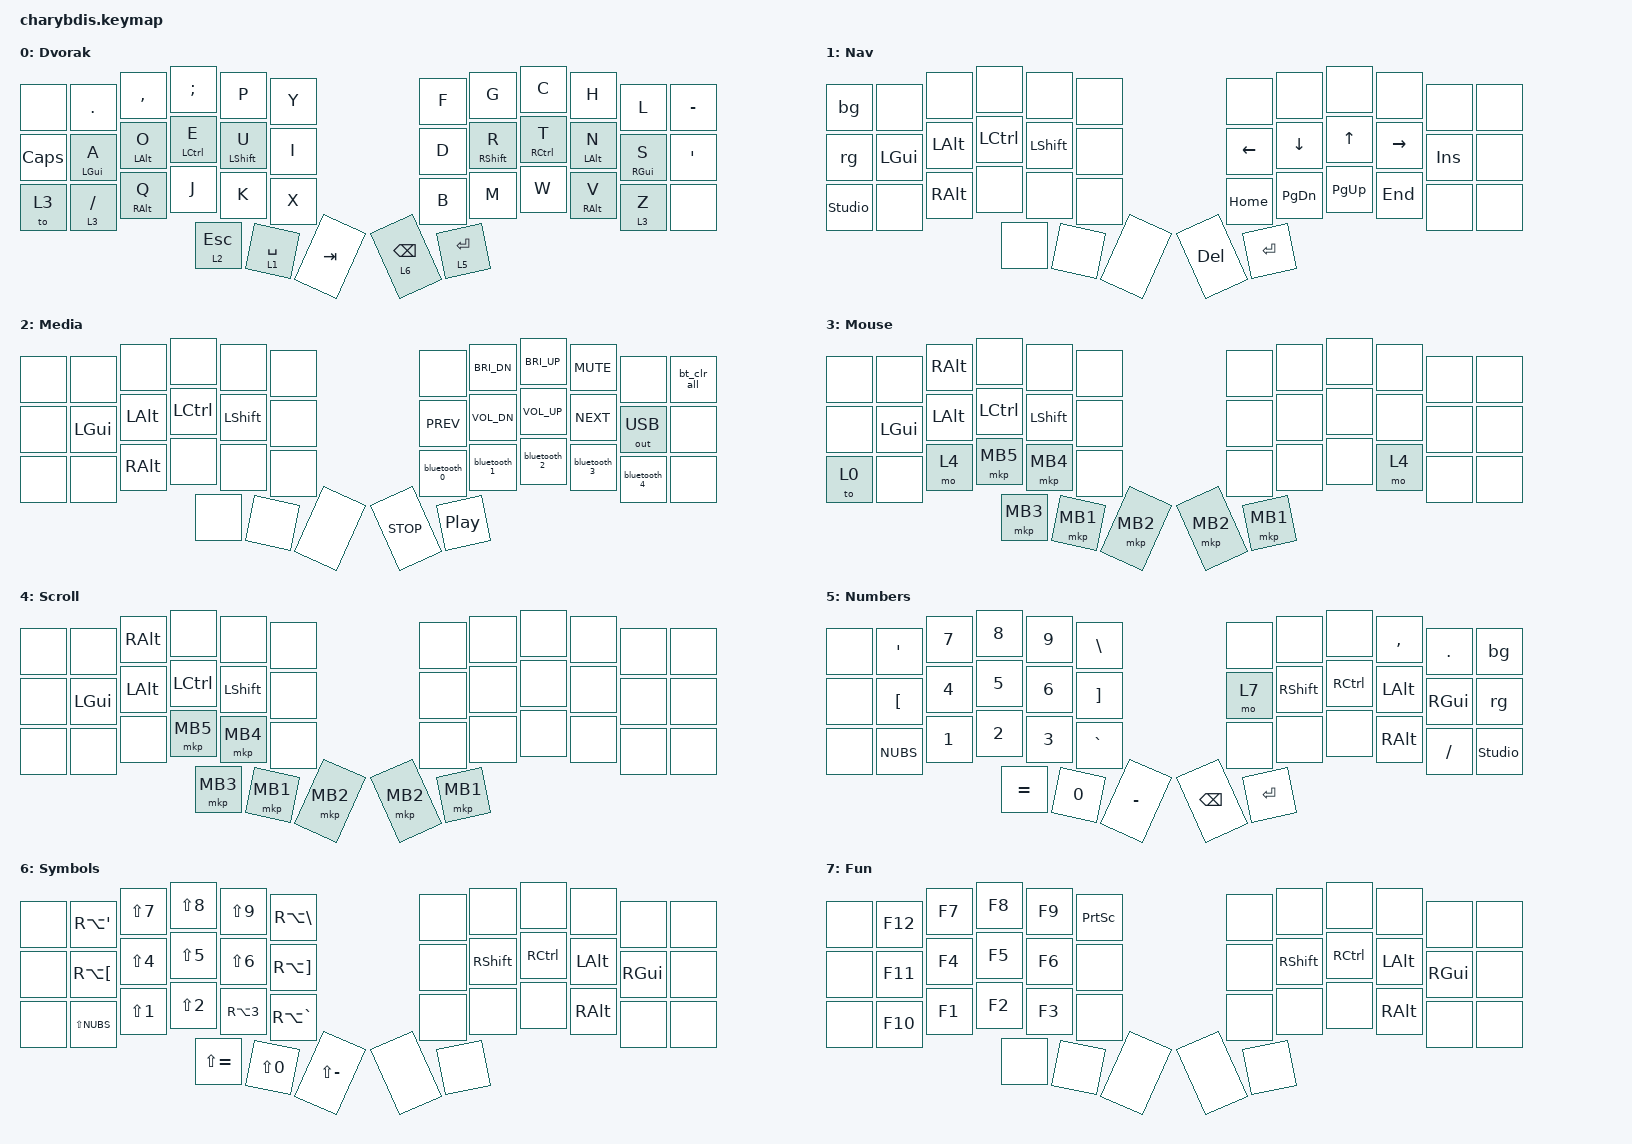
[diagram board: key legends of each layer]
/*
 * Copyright (c) 2020 The ZMK Contributors
 *
 * SPDX-License-Identifier: MIT
 */

#include <behaviors.dtsi>
#include <dt-bindings/zmk/bt.h>
#include <dt-bindings/zmk/keys.h>
#include <dt-bindings/zmk/outputs.h>
#include <dt-bindings/zmk/pointing.h>

#define DVORAK  0
#define QWERTY  1
#define NAV     2
#define MEDIA   3
#define MOUSE   4
#define SCROLL  5
#define NUMBERS 6
#define SYMBOLS 7
#define FUN     8

/ {
    macros {
        bt_0: bt_0 {
            compatible = "zmk,behavior-macro";
            #binding-cells = <0>;
            bindings = <&out OUT_BLE &bt BT_SEL 0>;
        };

        bt_1: bt_1 {
            compatible = "zmk,behavior-macro";
            #binding-cells = <0>;
            bindings = <&out OUT_BLE &bt BT_SEL 1>;
        };

        bt_2: bt_2 {
            compatible = "zmk,behavior-macro";
            #binding-cells = <0>;
            bindings = <&out OUT_BLE &bt BT_SEL 2>;
        };

        bt_3: bt_3 {
            compatible = "zmk,behavior-macro";
            #binding-cells = <0>;
            bindings = <&out OUT_BLE &bt BT_SEL 3>;
        };

        bt_4: bt_4 {
            compatible = "zmk,behavior-macro";
            #binding-cells = <0>;
            bindings = <&out OUT_BLE &bt BT_SEL 4>;
        };
    };

    behaviors {
        hrm: home_row_mod {
            compatible = "zmk,behavior-hold-tap";
            bindings = <&kp>, <&kp>;

            #binding-cells = <2>;
            tapping-term-ms = <200>;
            quick-tap-ms = <200>;
            require-prior-idle-ms = <150>;
            flavor = "tap-preferred";
        };

        hrml: home_row_mod_layer {
            compatible = "zmk,behavior-hold-tap";
            bindings = <&mo>, <&kp>;

            #binding-cells = <2>;
            tapping-term-ms = <200>;
            quick-tap-ms = <200>;
            require-prior-idle-ms = <150>;
            flavor = "tap-preferred";
        };

        ltq: layer_tap_quick {
            compatible = "zmk,behavior-hold-tap";
            bindings = <&mo>, <&kp>;

            #binding-cells = <2>;
            tapping-term-ms = <200>;
            quick-tap-ms = <200>;
            require-prior-idle-ms = <0>;
        };

        bluetooth_0: bluetooth_0 {
            compatible = "zmk,behavior-tap-dance";
            #binding-cells = <0>;
            bindings = <&bt_0>, <&bt BT_DISC 0>;
        };

        bluetooth_1: bluetooth_1 {
            compatible = "zmk,behavior-tap-dance";
            #binding-cells = <0>;
            bindings = <&bt_1>, <&bt BT_DISC 1>;
        };

        bluetooth_2: bluetooth_2 {
            compatible = "zmk,behavior-tap-dance";
            #binding-cells = <0>;
            bindings = <&bt_2>, <&bt BT_DISC 2>;
        };

        bluetooth_3: bluetooth_3 {
            compatible = "zmk,behavior-tap-dance";
            #binding-cells = <0>;
            bindings = <&bt_3>, <&bt BT_DISC 3>;
        };

        bluetooth_4: bluetooth_4 {
            compatible = "zmk,behavior-tap-dance";
            #binding-cells = <0>;
            bindings = <&bt_4>, <&bt BT_DISC 4>;
        };

        bt_clr_all: bluetooth_clr_all {
            compatible = "zmk,behavior-tap-dance";
            #binding-cells = <0>;
            bindings = <&bt BT_CLR>, <&bt BT_CLR_ALL>;
        };

        bg: bg {
            compatible = "zmk,behavior-tap-dance";
            #binding-cells = <0>;
            bindings = <&none>, <&bootloader>;
        };

        rg: rg {
            compatible = "zmk,behavior-tap-dance";
            #binding-cells = <0>;
            bindings = <&none>, <&sys_reset>;
        };
    };

    keymap {
        compatible = "zmk,keymap";

        Dvorak {
            bindings = <
&none       &kp DOT       &kp COMMA    &kp SEMI          &kp P          &kp Y  &kp F  &kp G         &kp C         &kp H        &kp L        &kp MINUS
&kp CAPS    &hrm LGUI A   &hrm LALT O  &hrm LCTRL E      &hrm LSHFT U   &kp I  &kp D  &hrm RSHFT R  &hrm RCTRL T  &hrm LALT N  &hrm RGUI S  &kp SQT
&to 3       &hrml 3 FSLH  &hrm RALT Q  &kp J             &kp K          &kp X  &kp B  &kp M         &kp W         &hrm RALT V  &hrml 3 Z    &none
&ltq 2 ESC  &ltq 1 SPACE  &kp TAB      &ltq 6 BACKSPACE  &ltq 5 RETURN
            >;
        };

        Nav {
            bindings = <
&bg             &none     &none     &none      &none       &none  &none     &none      &none      &none      &none    &none
&rg             &kp LGUI  &kp LALT  &kp LCTRL  &kp LSHFT   &none  &kp LEFT  &kp DOWN   &kp UP     &kp RIGHT  &kp INS  &none
&studio_unlock  &none     &kp RALT  &none      &none       &none  &kp HOME  &kp PG_DN  &kp PG_UP  &kp END    &none    &none
&none           &none     &none     &kp DEL    &kp RETURN
            >;
        };

        Media {
            bindings = <
&none  &none     &none     &none       &none             &none  &none         &kp C_BRI_DN  &kp C_BRI_UP     &kp C_MUTE    &none         &bt_clr_all
&none  &kp LGUI  &kp LALT  &kp LCTRL   &kp LSHFT         &none  &kp C_PREV    &kp C_VOL_DN  &kp C_VOLUME_UP  &kp C_NEXT    &out OUT_USB  &none
&none  &none     &kp RALT  &none       &none             &none  &bluetooth_0  &bluetooth_1  &bluetooth_2     &bluetooth_3  &bluetooth_4  &none
&none  &none     &none     &kp C_STOP  &kp C_PLAY_PAUSE
            >;
        };

        Mouse {
            bindings = <
&none     &none     &kp RALT  &none      &none      &none  &none  &none  &none  &none  &none  &none
&none     &kp LGUI  &kp LALT  &kp LCTRL  &kp LSHFT  &none  &none  &none  &none  &none  &none  &none
&to 0     &none     &mo 4     &mkp MB5   &mkp MB4   &none  &none  &none  &none  &mo 4  &none  &none
&mkp MB3  &mkp MB1  &mkp MB2  &mkp MB2   &mkp MB1
            >;
        };

        Scroll {
            bindings = <
&none     &none     &kp RALT  &none      &none      &none  &none  &none  &none  &none  &none  &none
&none     &kp LGUI  &kp LALT  &kp LCTRL  &kp LSHFT  &none  &none  &none  &none  &none  &none  &none
&none     &none     &none     &mkp MB5   &mkp MB4   &none  &none  &none  &none  &none  &none  &none
&mkp MB3  &mkp MB1  &mkp MB2  &mkp MB2   &mkp MB1
            >;
        };

        Numbers {
            bindings = <
&none      &kp APOS  &kp N7     &kp N8         &kp N9     &kp BSLH   &none  &none      &none      &kp COMMA  &kp DOT   &bg
&none      &kp LBKT  &kp N4     &kp N5         &kp N6     &kp RBKT   &mo 7  &kp RSHFT  &kp RCTRL  &kp LALT   &kp RGUI  &rg
&none      &kp NUBS  &kp N1     &kp N2         &kp N3     &kp GRAVE  &none  &none      &none      &kp RALT   &kp FSLH  &studio_unlock
&kp EQUAL  &kp N0    &kp MINUS  &kp BACKSPACE  &kp ENTER
            >;
        };

        Symbols {
            bindings = <
&none          &kp RA(APOS)  &kp LS(N7)     &kp LS(N8)  &kp LS(N9)  &kp RA(BSLH)   &none  &none      &none      &none     &none     &none
&none          &kp RA(LBKT)  &kp LS(N4)     &kp LS(N5)  &kp LS(N6)  &kp RA(RBKT)   &none  &kp RSHFT  &kp RCTRL  &kp LALT  &kp RGUI  &none
&none          &kp LS(NUBS)  &kp LS(N1)     &kp LS(N2)  &kp RA(N3)  &kp RA(GRAVE)  &none  &none      &none      &kp RALT  &none     &none
&kp LS(EQUAL)  &kp LS(N0)    &kp LS(MINUS)  &none       &none
            >;
        };

        Fun {
            bindings = <
&none  &kp F12  &kp F7  &kp F8  &kp F9  &kp PRINTSCREEN  &none  &none      &none      &none     &none     &none
&none  &kp F11  &kp F4  &kp F5  &kp F6  &none            &none  &kp RSHFT  &kp RCTRL  &kp LALT  &kp RGUI  &none
&none  &kp F10  &kp F1  &kp F2  &kp F3  &none            &none  &none      &none      &kp RALT  &none     &none
&none  &none    &none   &none   &none
            >;
        };
    };
};
